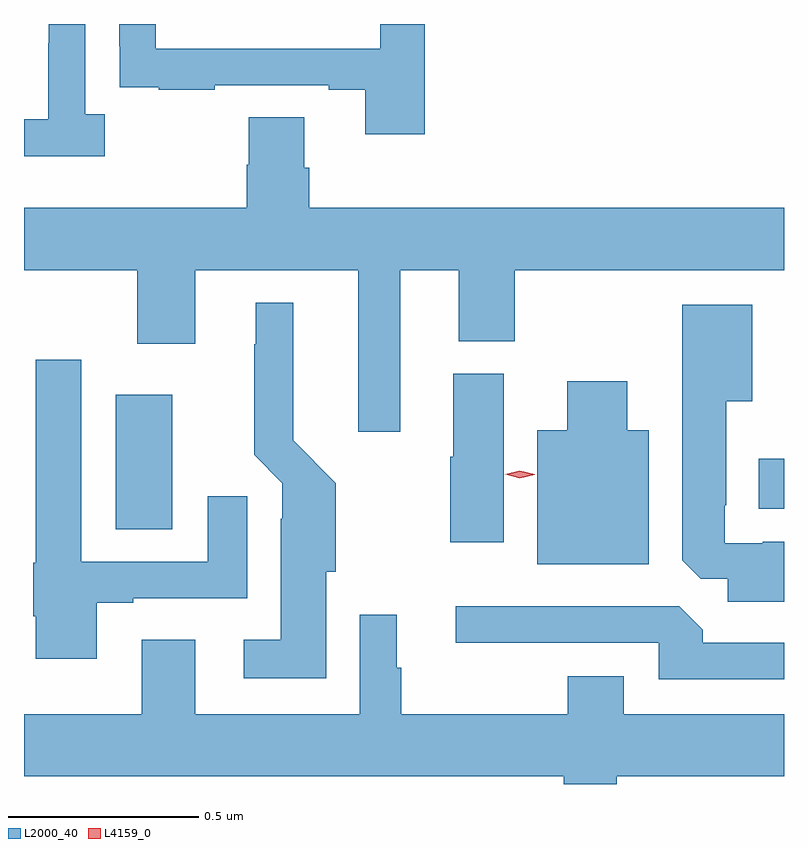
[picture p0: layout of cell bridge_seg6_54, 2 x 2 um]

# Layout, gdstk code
import gdstk
lib = gdstk.Library(unit=1e-6, precision=1e-09)
def R(c, l, rs):  # rectangles x0, y0, x1, y1
    for r in rs: c.add(gdstk.rectangle(r[:2], r[2:], *l))
def P(c, l, *ps):  # polygons
    for p in ps: c.add(gdstk.Polygon(p, *l))
L2000_40 = (2000, 40)
L4159_0 = (4159, 0)

bridge_seg6_54 = lib.new_cell('bridge_seg6_54')
R(bridge_seg6_54, L2000_40, [(1081.778,987.946,1081.927,988.3), (1083.47,988.001,1083.537,988.132)])
P(bridge_seg6_54, L2000_40, [(1082.591,989.276),(1082.475,989.276),(1082.475,989.211),(1081.884,989.211),(1081.884,989.276),(1081.788,989.276),(1081.788,989.218),(1081.789,989.218),(1081.789,989.109),(1081.891,989.109),(1081.891,989.103),(1082.039,989.103),(1082.039,989.115),(1082.339,989.115),(1082.339,989.103),(1082.435,989.103),(1082.435,988.986),(1082.591,988.986)],
  [(1081.75,989.038),(1081.698,989.038),(1081.698,989.276),(1081.602,989.276),(1081.602,989.225),(1081.601,989.225),(1081.601,989.025),(1081.537,989.025),(1081.537,988.928),(1081.75,988.928)],
  [(1082.288,988.898),(1082.275,988.898),(1082.275,989.03),(1082.128,989.03),(1082.128,988.905),(1082.123,988.905),(1082.123,988.792),(1081.537,988.792),(1081.537,988.628),(1081.835,988.628),(1081.835,988.434),(1081.987,988.434),(1081.987,988.628),(1082.417,988.628),(1082.417,988.203),(1082.527,988.203),(1082.527,988.628),(1082.681,988.628),(1082.681,988.441),(1082.829,988.441),(1082.829,988.628),(1083.537,988.628),(1083.537,988.792),(1082.288,988.792)],
  [(1082.332,987.834),(1082.358,987.834),(1082.358,988.067),(1082.245,988.18),(1082.245,988.543),(1082.147,988.543),(1082.147,988.433),(1082.143,988.433),(1082.143,988.142),(1082.217,988.068),(1082.217,987.974),(1082.213,987.974),(1082.213,987.655),(1082.115,987.655),(1082.115,987.554),(1082.332,987.554)],
  [(1083.537,987.913),(1083.481,987.913),(1083.481,987.909),(1083.381,987.909),(1083.381,988.009),(1083.385,988.009),(1083.385,988.283),(1083.454,988.283),(1083.454,988.537),(1083.269,988.537),(1083.269,987.865),(1083.318,987.816),(1083.389,987.816),(1083.389,987.755),(1083.537,987.755)],
  [(1081.729,987.753),(1081.825,987.753),(1081.825,987.765),(1082.125,987.765),(1082.125,988.033),(1082.021,988.033),(1082.021,987.861),(1081.687,987.861),(1081.687,988.393),(1081.568,988.393),(1081.568,987.858),(1081.561,987.858),(1081.561,987.718),(1081.568,987.718),(1081.568,987.606),(1081.729,987.606)],
  [(1082.8,988.356),(1082.666,988.356),(1082.666,988.137),(1082.659,988.137),(1082.659,987.912),(1082.8,987.912)],
  [(1083.181,988.207),(1083.124,988.207),(1083.124,988.336),(1082.966,988.336),(1082.966,988.207),(1082.888,988.207),(1082.888,987.854),(1083.181,987.854)],
  [(1083.537,987.648),(1083.323,987.648),(1083.323,987.682),(1083.261,987.744),(1082.673,987.744),(1082.673,987.648),(1083.207,987.648),(1083.207,987.552),(1083.537,987.552)],
  [(1083.097,987.296),(1083.537,987.296),(1083.537,987.46),(1083.115,987.46),(1083.115,987.559),(1082.968,987.559),(1082.968,987.46),(1082.53,987.46),(1082.53,987.582),(1082.518,987.582),(1082.518,987.721),(1082.421,987.721),(1082.421,987.46),(1081.987,987.46),(1081.987,987.655),(1081.847,987.655),(1081.847,987.46),(1081.537,987.46),(1081.537,987.296),(1082.957,987.296),(1082.957,987.276),(1083.097,987.276)])
P(bridge_seg6_54, L4159_0, [(1082.842,988.081),(1082.804,988.091),(1082.803,988.091),(1082.804,988.091),(1082.842,988.101),(1082.881,988.091),(1082.881,988.091),(1082.881,988.09)])

lib.write_gds('bridge_seg6_54.gds')
